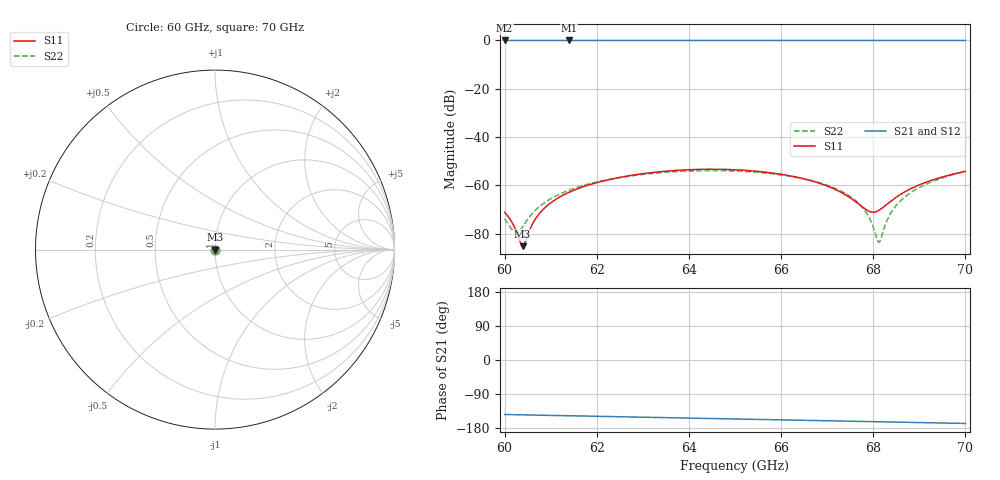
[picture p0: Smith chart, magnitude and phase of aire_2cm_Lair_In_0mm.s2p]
! TOUCHSTONE file generated by CST MICROWAVE STUDIO
! Date and time: Fri Mar  8 11:35:05 2024
! Project name: aire_def.cst
! Parameters = {d=9}
! Header version: 2018
! Port assignment regex: !\s*Touchstone port\s*([0-9]+)\s*=\s*(CST MWS port|CST DS port)\s*([0-9]+|Zmin|Zmax)\s*\(\"(.*)\"\)(\s*mode\s*([0-9]+))?.*
! Touchstone port assignment:
! Touchstone port 1 = CST MWS port 1 ("")
! Touchstone port 2 = CST MWS port 2 ("")
# GHz S MA R 376.7
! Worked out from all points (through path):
!   1001 points, 60 GHz to 70 GHz, reference 376.7 ohm
!   highest |S21| = 0.00 dB at 61.4 GHz (marker M1); lowest = 0.0 dB at 60 GHz (marker M2)
!   group delay of S21, straight-line fit = 6.56 ps
!   lowest |S11| = -85.1 dB at 60.39 GHz (marker M3), VSWR 1.00, Z = 377 - j0.0296 ohm
!   |S11| at or under -10 dB: start of sweep to end of sweep
!   |S22| runs from -83.5 to -53.8 dB; largest |S21 - S12| = 0.0012
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60  0.0002788 -58.3  0.9995 -143.8  1 -143.8  0.0002059 -24.4
60.23  0.0001275 -73.3  0.9996 -144.4  1 -144.4  0.0001027 25.9
60.3  8.617e-05 -87.7  0.9997 -144.5  1 -144.5  0.0001061 53.0
60.39  5.556e-05 -135.0  0.9997 -144.8  1 -144.7  0.000139 78.6
60.51  9.901e-05 165.8  0.9998 -145.0  1 -145.0  0.0002063 95.6
60.79  0.0002874 142.0  0.9999 -145.7  1 -145.7  0.0003889 109.1
61.4  0.000724 133.2  1 -147.1  1 -147.1  0.0007975 115.2
61.67  0.0009162 131.3  1 -147.8  1 -147.8  0.0009722 115.7
62.42  0.001422 127.1  1 -149.6  1 -149.6  0.001416 115.1
63.34  0.001914 122.7  1 -151.8  1 -151.7  0.001829 112.8
65  0.002114 116.9  1 -155.7  1 -155.7  0.001996 107.5
65.9  0.001763 116.3  1 -157.8  0.9996 -157.8  0.001707 104.6
66.67  0.001243 119.3  1 -159.6  0.9993 -159.6  0.001254 102.1
67.2  0.0008088 126.5  1 -160.9  0.9991 -160.9  0.0008483 99.7
67.59  0.0004846 141.7  1 -161.8  0.9989 -161.8  0.0005107 96.3
67.83  0.0003243 166.3  1 -162.4  0.9989 -162.4  0.0002913 90.3
68.09  0.0002948 -144.8  1 -163.0  0.9988 -163.0  7.399e-05 39.0
68.19  0.0003393 -128.6  1 -163.2  0.9988 -163.2  9.457e-05 -31.9
68.34  0.0004411 -112.2  1 -163.6  0.9988 -163.6  0.0002279 -59.8
68.57  0.0006349 -98.5  1 -164.1  0.9988 -164.1  0.0004586 -68.5
68.91  0.0009484 -88.9  1 -164.9  0.9989 -164.9  0.0008127 -72.1
70  0.00195 -77.5  1 -167.5  0.9999 -167.5  0.001975 -74.4
